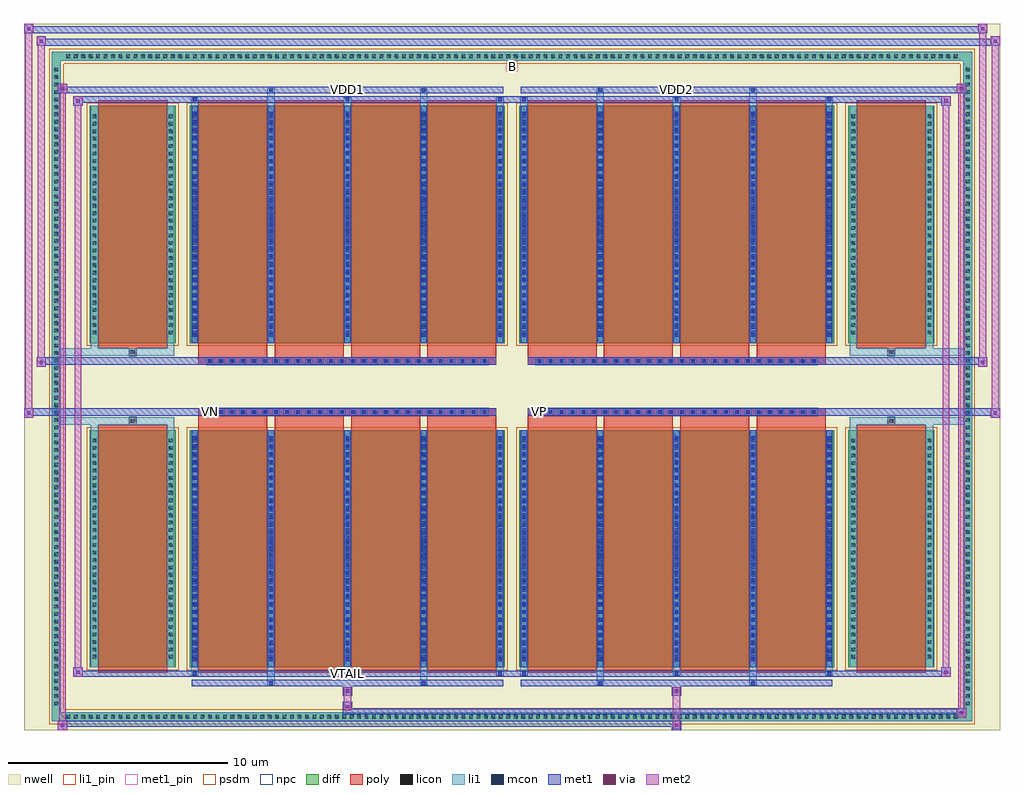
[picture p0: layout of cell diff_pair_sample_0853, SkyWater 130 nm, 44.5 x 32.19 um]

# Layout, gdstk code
import gdstk
lib = gdstk.Library(unit=1e-6, precision=5e-09)
def R(c, l, rs):  # rectangles x0, y0, x1, y1
    for r in rs: c.add(gdstk.rectangle(r[:2], r[2:], *l))
def A(c, l, x, y, w, h, nx, ny, dx, dy):  # array of equal rectangles
    R(c, l, [(x+i*dx, y+j*dy, x+i*dx+w, y+j*dy+h) for i in range(nx) for j in range(ny)])
def P(c, l, *ps):  # polygons
    for p in ps: c.add(gdstk.Polygon(p, *l))
nwell = (64, 20)
diff = (65, 20)
poly = (66, 20)
licon = (66, 44)
li1_pin = (67, 16)
li1 = (67, 20)
mcon = (67, 44)
met1_pin = (68, 16)
met1 = (68, 20)
via = (68, 44)
met2 = (69, 20)
psdm = (94, 20)
npc = (95, 20)

diff_pair_sample_0853 = lib.new_cell('diff_pair_sample_0853')
R(diff_pair_sample_0853, nwell, [(-22.25,-15.66,22.25,16.53), (-19.57,-13.85,-0.01,-0.795), (0.01,-13.85,19.57,-0.795), (-19.57,0.795,-0.01,13.85), (0.01,0.795,19.57,13.85)])
A(diff_pair_sample_0853, diff, -20.435, -15.26, 0.41, 0.41, 120, 2, 0.34, 30.11)
A(diff_pair_sample_0853, diff, -20.98, -14.655, 0.41, 0.41, 1, 86, 0, 0.34)
A(diff_pair_sample_0853, diff, 20.57, -14.655, 0.41, 0.41, 1, 86, 0, 0.34)
R(diff_pair_sample_0853, diff, [(-20.435,-15.26,20.435,-14.85), (-20.98,-14.655,-20.57,14.655), (20.57,-14.655,20.98,14.655), (-19.26,-12.805,-15.33,-1.985), (-14.69,-12.805,-0.32,-1.985), (0.32,-12.805,14.69,-1.985), (15.33,-12.805,19.26,-1.985), (-19.26,1.985,-15.33,12.805), (-14.69,1.985,-0.32,12.805), (0.32,1.985,14.69,12.805), (15.33,1.985,19.26,12.805), (-20.435,14.85,20.435,15.26)])
P(diff_pair_sample_0853, diff, [(20.98,15.26),(-20.98,15.26),(-20.98,-14.85),(-20.57,-14.85),(-20.57,14.85),(20.57,14.85),(20.57,-14.85),(-20.57,-14.85),(-20.98,-14.85),(-20.98,-15.26),(20.98,-15.26)])
A(diff_pair_sample_0853, poly, -14.3, -13.055, 3.15, 11.32, 4, 2, 3.48, 14.79)
A(diff_pair_sample_0853, poly, 0.71, -13.055, 3.15, 11.32, 4, 2, 3.48, 14.79)
A(diff_pair_sample_0853, poly, -14.3, -1.735, 3.15, 0.41, 4, 2, 3.48, 3.06)
A(diff_pair_sample_0853, poly, 0.71, -1.735, 3.15, 0.41, 4, 2, 3.48, 3.06)
A(diff_pair_sample_0853, poly, -13.92, -1.325, 0.33, 0.33, 26, 2, 0.5, 2.32)
A(diff_pair_sample_0853, poly, 1.09, -1.325, 0.33, 0.33, 26, 2, 0.5, 2.32)
R(diff_pair_sample_0853, poly, [(-18.87,-13.055,-15.72,-1.735), (15.72,-13.055,18.87,-1.735), (-17.46,-1.735,-17.13,-1.405), (-17.46,-1.735,-17.13,-1.405), (17.13,-1.735,17.46,-1.405), (17.13,-1.735,17.46,-1.405), (-14.3,-1.325,-0.71,-0.995), (0.71,-1.325,14.3,-0.995), (-14.3,0.995,-0.71,1.325), (0.71,0.995,14.3,1.325), (-17.46,1.405,-17.13,1.735), (-17.46,1.405,-17.13,1.735), (17.13,1.405,17.46,1.735), (17.13,1.405,17.46,1.735), (-18.87,1.735,-15.72,13.055), (15.72,1.735,18.87,13.055)])
A(diff_pair_sample_0853, licon, -20.315, -15.14, 0.17, 0.17, 120, 2, 0.34, 30.11)
A(diff_pair_sample_0853, licon, -20.86, -14.535, 0.17, 0.17, 1, 86, 0, 0.34)
A(diff_pair_sample_0853, licon, 20.69, -14.535, 0.17, 0.17, 1, 86, 0, 0.34)
A(diff_pair_sample_0853, licon, -19.12, -12.41, 0.17, 0.17, 1, 30, 0, 0.34)
A(diff_pair_sample_0853, licon, -15.64, -12.41, 0.17, 0.17, 1, 30, 0, 0.34)
A(diff_pair_sample_0853, licon, -14.55, -12.41, 0.17, 0.17, 5, 30, 3.48, 0.34)
A(diff_pair_sample_0853, licon, 0.46, -12.41, 0.17, 0.17, 5, 30, 3.48, 0.34)
A(diff_pair_sample_0853, licon, 15.47, -12.41, 0.17, 0.17, 1, 30, 0, 0.34)
A(diff_pair_sample_0853, licon, 18.95, -12.41, 0.17, 0.17, 1, 30, 0, 0.34)
A(diff_pair_sample_0853, licon, -13.84, -1.245, 0.17, 0.17, 26, 2, 0.5, 2.32)
A(diff_pair_sample_0853, licon, 1.17, -1.245, 0.17, 0.17, 26, 2, 0.5, 2.32)
A(diff_pair_sample_0853, licon, -19.12, 2.38, 0.17, 0.17, 1, 30, 0, 0.34)
A(diff_pair_sample_0853, licon, -15.64, 2.38, 0.17, 0.17, 1, 30, 0, 0.34)
A(diff_pair_sample_0853, licon, -14.55, 2.38, 0.17, 0.17, 5, 30, 3.48, 0.34)
A(diff_pair_sample_0853, licon, 0.46, 2.38, 0.17, 0.17, 5, 30, 3.48, 0.34)
A(diff_pair_sample_0853, licon, 15.47, 2.38, 0.17, 0.17, 1, 30, 0, 0.34)
A(diff_pair_sample_0853, licon, 18.95, 2.38, 0.17, 0.17, 1, 30, 0, 0.34)
R(diff_pair_sample_0853, licon, [(-17.38,-1.655,-17.21,-1.485), (17.21,-1.655,17.38,-1.485), (-17.38,1.485,-17.21,1.655), (17.21,1.485,17.38,1.655)])
R(diff_pair_sample_0853, li1_pin, [(-0.25,14.35,0.25,14.85)])
A(diff_pair_sample_0853, li1, -20.395, -15.22, 0.33, 0.33, 120, 2, 0.34, 30.11)
A(diff_pair_sample_0853, li1, -20.94, -14.615, 0.33, 0.33, 1, 86, 0, 0.34)
A(diff_pair_sample_0853, li1, 20.61, -14.615, 0.33, 0.33, 1, 86, 0, 0.34)
A(diff_pair_sample_0853, li1, -14.63, -13.18, 0.33, 0.375, 3, 2, 6.96, 25.985)
A(diff_pair_sample_0853, li1, -14.55, -13.18, 0.17, 0.17, 3, 2, 6.96, 26.19)
A(diff_pair_sample_0853, li1, 0.38, -13.18, 0.33, 0.375, 3, 2, 6.96, 25.985)
A(diff_pair_sample_0853, li1, 0.46, -13.18, 0.17, 0.17, 3, 2, 6.96, 26.19)
A(diff_pair_sample_0853, li1, -14.63, -12.805, 0.33, 10.82, 5, 2, 3.48, 14.79)
A(diff_pair_sample_0853, li1, 0.38, -12.805, 0.33, 10.82, 5, 2, 3.48, 14.79)
A(diff_pair_sample_0853, li1, -14.55, -12.52, 0.17, 0.17, 5, 29, 3.48, 0.36)
A(diff_pair_sample_0853, li1, -14.55, -12.52, 0.17, 10.25, 5, 2, 3.48, 14.79)
A(diff_pair_sample_0853, li1, 0.46, -12.52, 0.17, 0.17, 5, 29, 3.48, 0.36)
A(diff_pair_sample_0853, li1, 0.46, -12.52, 0.17, 10.25, 5, 2, 3.48, 14.79)
A(diff_pair_sample_0853, li1, -19.2, -12.49, 0.33, 0.33, 1, 30, 0, 0.34)
A(diff_pair_sample_0853, li1, -15.72, -12.49, 0.33, 0.33, 1, 30, 0, 0.34)
A(diff_pair_sample_0853, li1, -14.63, -12.49, 0.33, 0.33, 5, 30, 3.48, 0.34)
A(diff_pair_sample_0853, li1, 0.38, -12.49, 0.33, 0.33, 5, 30, 3.48, 0.34)
A(diff_pair_sample_0853, li1, 15.39, -12.49, 0.33, 0.33, 1, 30, 0, 0.34)
A(diff_pair_sample_0853, li1, 18.87, -12.49, 0.33, 0.33, 1, 30, 0, 0.34)
A(diff_pair_sample_0853, li1, -13.92, -1.325, 0.33, 0.33, 26, 2, 0.5, 2.32)
A(diff_pair_sample_0853, li1, 1.09, -1.325, 0.33, 0.33, 26, 2, 0.5, 2.32)
A(diff_pair_sample_0853, li1, -14.55, 2.27, 0.17, 0.17, 5, 29, 3.48, 0.36)
A(diff_pair_sample_0853, li1, 0.46, 2.27, 0.17, 0.17, 5, 29, 3.48, 0.36)
A(diff_pair_sample_0853, li1, -19.2, 2.3, 0.33, 0.33, 1, 30, 0, 0.34)
A(diff_pair_sample_0853, li1, -15.72, 2.3, 0.33, 0.33, 1, 30, 0, 0.34)
A(diff_pair_sample_0853, li1, -14.63, 2.3, 0.33, 0.33, 5, 30, 3.48, 0.34)
A(diff_pair_sample_0853, li1, 0.38, 2.3, 0.33, 0.33, 5, 30, 3.48, 0.34)
A(diff_pair_sample_0853, li1, 15.39, 2.3, 0.33, 0.33, 1, 30, 0, 0.34)
A(diff_pair_sample_0853, li1, 18.87, 2.3, 0.33, 0.33, 1, 30, 0, 0.34)
R(diff_pair_sample_0853, li1, [(-20.98,-15.26,-20.57,-14.85), (-20.98,-15.26,-20.57,-14.85), (-20.57,-15.26,20.57,-14.85), (20.57,-15.26,20.98,-14.85), (20.57,-15.26,20.98,-14.85), (-20.98,-14.85,-20.57,14.85), (20.57,-14.85,20.98,14.85), (-11.15,-13.61,-10.82,-12.805), (-11.07,-13.61,-10.9,-13.44), (-4.19,-13.61,-3.86,-12.805), (-4.11,-13.61,-3.94,-13.44), (3.86,-13.61,4.19,-12.805), (3.94,-13.61,4.11,-13.44), (10.82,-13.61,11.15,-12.805), (10.9,-13.61,11.07,-13.44), (-19.2,-12.805,-18.87,-1.985), (-15.72,-12.805,-15.39,-1.985), (15.39,-12.805,15.72,-1.985), (18.87,-12.805,19.2,-1.985), (-19.2,-1.985,-18.87,-1.405), (-15.72,-1.985,-15.39,-1.405), (15.39,-1.985,15.72,-1.405), (18.87,-1.985,19.2,-1.405), (-20.98,-1.735,-17.46,-1.405), (-19.2,-1.735,-17.46,-1.405), (-17.46,-1.735,-17.13,-1.405), (-17.13,-1.735,-15.39,-1.405), (15.39,-1.735,17.13,-1.405), (17.13,-1.735,17.46,-1.405), (17.13,-1.735,20.98,-1.405), (17.46,-1.735,19.2,-1.405), (-20.98,1.405,-17.46,1.735), (-19.2,1.405,-17.46,1.735), (-19.2,1.405,-18.87,1.985), (-17.46,1.405,-17.13,1.735), (-17.13,1.405,-15.39,1.735), (-15.72,1.405,-15.39,1.985), (15.39,1.405,17.13,1.735), (15.39,1.405,15.72,1.985), (17.13,1.405,17.46,1.735), (17.13,1.405,20.98,1.735), (17.46,1.405,19.2,1.735), (18.87,1.405,19.2,1.985), (-19.2,1.985,-18.87,12.805), (-15.72,1.985,-15.39,12.805), (15.39,1.985,15.72,12.805), (18.87,1.985,19.2,12.805), (-11.15,12.805,-10.82,13.61), (-4.19,12.805,-3.86,13.61), (3.86,12.805,4.19,13.61), (10.82,12.805,11.15,13.61), (-11.07,13.44,-10.9,13.61), (-4.11,13.44,-3.94,13.61), (3.94,13.44,4.11,13.61), (10.9,13.44,11.07,13.61), (-20.98,14.85,-20.57,15.26), (-20.98,14.85,-20.57,15.26), (-20.57,14.85,20.57,15.26), (20.57,14.85,20.98,15.26), (20.57,14.85,20.98,15.26)])
A(diff_pair_sample_0853, mcon, -14.55, -13.18, 0.17, 0.17, 3, 2, 6.96, 26.19)
A(diff_pair_sample_0853, mcon, 0.46, -13.18, 0.17, 0.17, 3, 2, 6.96, 26.19)
A(diff_pair_sample_0853, mcon, -14.55, -12.52, 0.17, 0.17, 5, 29, 3.48, 0.36)
A(diff_pair_sample_0853, mcon, 0.46, -12.52, 0.17, 0.17, 5, 29, 3.48, 0.36)
A(diff_pair_sample_0853, mcon, -13.84, -1.245, 0.17, 0.17, 26, 2, 0.5, 2.32)
A(diff_pair_sample_0853, mcon, 1.17, -1.245, 0.17, 0.17, 26, 2, 0.5, 2.32)
A(diff_pair_sample_0853, mcon, -14.55, 2.27, 0.17, 0.17, 5, 29, 3.48, 0.36)
A(diff_pair_sample_0853, mcon, 0.46, 2.27, 0.17, 0.17, 5, 29, 3.48, 0.36)
R(diff_pair_sample_0853, mcon, [(-11.07,-13.61,-10.9,-13.44), (-4.11,-13.61,-3.94,-13.44), (3.94,-13.61,4.11,-13.44), (10.9,-13.61,11.07,-13.44), (-11.07,13.44,-10.9,13.61), (-4.11,13.44,-3.94,13.61), (3.94,13.44,4.11,13.61), (10.9,13.44,11.07,13.61)])
R(diff_pair_sample_0853, met1_pin, [(-7.64,-13.22,-7.37,-12.95), (-13.89,-1.285,-13.62,-1.015), (1.12,-1.285,1.39,-1.015), (-7.64,13.4,-7.37,13.67), (7.37,13.4,7.64,13.67)])
A(diff_pair_sample_0853, met1, -14.61, -13.24, 0.29, 0.29, 3, 2, 6.96, 26.19)
A(diff_pair_sample_0853, met1, 0.4, -13.24, 0.29, 0.29, 3, 2, 6.96, 26.19)
A(diff_pair_sample_0853, met1, -14.61, -12.805, 0.29, 10.82, 5, 2, 3.48, 14.79)
A(diff_pair_sample_0853, met1, 0.4, -12.805, 0.29, 10.82, 5, 2, 3.48, 14.79)
A(diff_pair_sample_0853, met1, -14.61, -12.58, 0.29, 0.29, 5, 29, 3.48, 0.36)
A(diff_pair_sample_0853, met1, 0.4, -12.58, 0.29, 0.29, 5, 29, 3.48, 0.36)
A(diff_pair_sample_0853, met1, -13.9, -1.305, 0.29, 0.29, 26, 2, 0.5, 2.32)
A(diff_pair_sample_0853, met1, 1.11, -1.305, 0.29, 0.29, 26, 2, 0.5, 2.32)
A(diff_pair_sample_0853, met1, -14.61, 2.21, 0.29, 0.29, 5, 29, 3.48, 0.36)
A(diff_pair_sample_0853, met1, 0.4, 2.21, 0.29, 0.29, 5, 29, 3.48, 0.36)
R(diff_pair_sample_0853, met1, [(-20.71,-15.66,-20.28,-15.23), (7.29,-15.66,7.72,-15.23), (-20.71,-15.52,7.72,-15.23), (20.28,-15.09,20.71,-14.66), (-7.72,-14.95,20.71,-14.66), (-7.72,-14.81,-7.29,-14.38), (-7.72,-14.1,-7.29,-13.67), (7.29,-14.1,7.72,-13.67), (-14.61,-13.67,-0.4,-13.38), (-11.13,-13.67,-10.84,-13.38), (-4.17,-13.67,-3.88,-13.38), (0.4,-13.67,14.61,-13.38), (3.88,-13.67,4.17,-13.38), (10.84,-13.67,11.13,-13.38), (-20,-13.24,-19.57,-12.81), (-20,-13.24,-14.61,-12.95), (-14.61,-13.24,-0.4,-12.95), (-0.4,-13.24,0.4,-12.95), (0.4,-13.24,14.61,-12.95), (14.61,-13.24,20,-12.95), (19.57,-13.24,20,-12.81), (-22.25,-1.425,-21.82,-0.995), (21.82,-1.425,22.25,-0.995), (-22.25,-1.325,-0.71,-0.995), (-14.3,-1.325,-0.71,-0.995), (0.71,-1.325,14.3,-0.995), (0.71,-1.325,22.25,-0.995), (-21.68,0.895,-21.25,1.325), (21.25,0.895,21.68,1.325), (-21.68,0.995,-14.3,1.325), (-14.3,0.995,-0.71,1.325), (0.71,0.995,14.3,1.325), (14.3,0.995,21.68,1.325), (-20,12.81,-19.57,13.24), (19.57,12.81,20,13.24), (-20,12.95,-14.61,13.24), (-14.61,12.95,-0.4,13.24), (-0.4,12.95,0.4,13.24), (0.4,12.95,14.61,13.24), (14.61,12.95,20,13.24), (-20.71,13.38,-20.28,13.81), (-20.71,13.38,-14.61,13.67), (-14.61,13.38,-0.4,13.67), (-11.13,13.38,-10.84,13.67), (-4.17,13.38,-3.88,13.67), (0.4,13.38,14.61,13.67), (3.88,13.38,4.17,13.67), (10.84,13.38,11.13,13.67), (14.61,13.38,20.71,13.67), (20.28,13.38,20.71,13.81), (-21.68,15.53,-21.25,15.96), (-21.68,15.53,-19.57,15.86), (-19.57,15.53,19.57,15.86), (19.57,15.53,22.25,15.86), (21.82,15.53,22.25,15.96), (-22.25,16.1,-21.82,16.53), (-22.25,16.1,-19.57,16.43), (-19.57,16.1,19.57,16.43), (19.57,16.1,21.68,16.43), (21.25,16.1,21.68,16.53)])
R(diff_pair_sample_0853, via, [(-20.57,-15.52,-20.42,-15.37), (7.43,-15.52,7.58,-15.37), (20.42,-14.95,20.57,-14.8), (-7.58,-14.67,-7.43,-14.52), (-7.58,-13.96,-7.43,-13.81), (7.43,-13.96,7.58,-13.81), (-19.86,-13.1,-19.71,-12.95), (19.71,-13.1,19.86,-12.95), (-22.11,-1.285,-21.96,-1.135), (21.96,-1.285,22.11,-1.135), (-21.54,1.035,-21.39,1.185), (21.39,1.035,21.54,1.185), (-19.86,12.95,-19.71,13.1), (19.71,12.95,19.86,13.1), (-20.57,13.52,-20.42,13.67), (20.42,13.52,20.57,13.67), (-21.54,15.67,-21.39,15.82), (21.96,15.67,22.11,15.82), (-22.11,16.24,-21.96,16.39), (21.39,16.24,21.54,16.39)])
R(diff_pair_sample_0853, met2, [(-20.71,-15.66,-20.28,-15.23), (-20.64,-15.66,-20.35,13.81), (-20.35,-15.66,-20.28,-15.23), (-20.66,-15.61,-20.33,-15.28), (7.34,-15.61,7.67,-15.28), (7.34,-15.28,7.67,-14.05), (20.28,-15.09,20.71,-14.66), (20.35,-15.09,20.64,13.81), (20.64,-15.09,20.71,-14.66), (20.33,-15.04,20.66,-14.71), (-7.67,-14.76,-7.34,-14.43), (-7.67,-14.43,-7.34,-14.05), (-7.67,-14.05,-7.34,-13.72), (7.34,-14.05,7.67,-13.72), (-20,-13.24,-19.57,-12.81), (-19.93,-13.24,-19.64,13.24), (-19.64,-13.24,-19.57,-12.81), (19.57,-13.24,20,-12.81), (19.64,-13.24,19.93,13.24), (19.93,-13.24,20,-12.81), (-19.95,-13.19,-19.62,-12.86), (19.62,-13.19,19.95,-12.86), (-22.25,-1.425,-21.82,-0.995), (-22.2,-1.425,-21.87,16.53), (-21.87,-1.425,-21.82,-0.995), (21.82,-1.425,22.25,-0.995), (21.87,-1.425,22.2,15.96), (22.2,-1.425,22.25,-0.995), (-22.2,-1.375,-21.87,-1.045), (21.87,-1.375,22.2,-1.045), (-21.68,0.895,-21.25,1.325), (-21.63,0.895,-21.3,15.96), (-21.3,0.895,-21.25,1.325), (21.25,0.895,21.68,1.325), (21.3,0.895,21.63,16.53), (21.63,0.895,21.68,1.325), (-21.63,0.945,-21.3,1.275), (21.3,0.945,21.63,1.275), (-20,12.81,-19.57,13.24), (-19.64,12.81,-19.57,13.24), (19.57,12.81,20,13.24), (19.93,12.81,20,13.24), (-19.95,12.86,-19.62,13.19), (19.62,12.86,19.95,13.19), (-20.71,13.38,-20.28,13.81), (-20.35,13.38,-20.28,13.81), (20.28,13.38,20.71,13.81), (20.64,13.38,20.71,13.81), (-20.66,13.43,-20.33,13.76), (20.33,13.43,20.66,13.76), (-21.68,15.53,-21.25,15.96), (-21.3,15.53,-21.25,15.96), (21.82,15.53,22.25,15.96), (22.2,15.53,22.25,15.96), (-21.63,15.58,-21.3,15.91), (21.87,15.58,22.2,15.91), (-22.25,16.1,-21.82,16.53), (-21.87,16.1,-21.82,16.53), (21.25,16.1,21.68,16.53), (21.63,16.1,21.68,16.53), (-22.2,16.15,-21.87,16.48), (21.3,16.15,21.63,16.48)])
R(diff_pair_sample_0853, psdm, [(-19.39,-12.935,-15.2,-1.855), (-14.82,-12.935,-0.19,-1.855), (0.19,-12.935,14.82,-1.855), (15.2,-12.935,19.39,-1.855), (-19.39,1.855,-15.2,12.935), (-14.82,1.855,-0.19,12.935), (0.19,1.855,14.82,12.935), (15.2,1.855,19.39,12.935)])
P(diff_pair_sample_0853, psdm, [(21.11,15.39),(-21.11,15.39),(-21.11,-14.72),(-20.44,-14.72),(-20.44,14.72),(20.44,14.72),(20.44,-14.72),(-20.44,-14.72),(-21.11,-14.72),(-21.11,-15.39),(21.11,-15.39)])
A(diff_pair_sample_0853, npc, -13.94, -1.345, 0.37, 0.37, 26, 2, 0.5, 2.32)
A(diff_pair_sample_0853, npc, 1.07, -1.345, 0.37, 0.37, 26, 2, 0.5, 2.32)
R(diff_pair_sample_0853, npc, [(-17.48,-1.755,-17.11,-1.385), (17.11,-1.755,17.48,-1.385), (-13.94,-1.345,-13.07,-0.975), (-13.94,-1.345,-13.07,-0.975), (-13.44,-1.345,-12.57,-0.975), (-13.44,-1.345,-12.57,-0.975), (-12.94,-1.345,-12.07,-0.975), (-12.94,-1.345,-12.07,-0.975), (-12.44,-1.345,-11.57,-0.975), (-12.44,-1.345,-11.57,-0.975), (-11.94,-1.345,-11.07,-0.975), (-11.94,-1.345,-11.07,-0.975), (-11.44,-1.345,-10.57,-0.975), (-11.44,-1.345,-10.57,-0.975), (-10.94,-1.345,-10.07,-0.975), (-10.94,-1.345,-10.07,-0.975), (-10.44,-1.345,-9.57,-0.975), (-10.44,-1.345,-9.57,-0.975), (-9.94,-1.345,-9.07,-0.975), (-9.94,-1.345,-9.07,-0.975), (-9.44,-1.345,-8.57,-0.975), (-9.44,-1.345,-8.57,-0.975), (-8.94,-1.345,-8.07,-0.975), (-8.94,-1.345,-8.07,-0.975), (-8.44,-1.345,-7.57,-0.975), (-8.44,-1.345,-7.57,-0.975), (-7.94,-1.345,-7.07,-0.975), (-7.94,-1.345,-7.07,-0.975), (-7.44,-1.345,-6.57,-0.975), (-7.44,-1.345,-6.57,-0.975), (-6.94,-1.345,-6.07,-0.975), (-6.94,-1.345,-6.07,-0.975), (-6.44,-1.345,-5.57,-0.975), (-6.44,-1.345,-5.57,-0.975), (-5.94,-1.345,-5.07,-0.975), (-5.94,-1.345,-5.07,-0.975), (-5.44,-1.345,-4.57,-0.975), (-5.44,-1.345,-4.57,-0.975), (-4.94,-1.345,-4.07,-0.975), (-4.94,-1.345,-4.07,-0.975), (-4.44,-1.345,-3.57,-0.975), (-4.44,-1.345,-3.57,-0.975), (-3.94,-1.345,-3.07,-0.975), (-3.94,-1.345,-3.07,-0.975), (-3.44,-1.345,-2.57,-0.975), (-3.44,-1.345,-2.57,-0.975), (-2.94,-1.345,-2.07,-0.975), (-2.94,-1.345,-2.07,-0.975), (-2.44,-1.345,-1.57,-0.975), (-2.44,-1.345,-1.57,-0.975), (-1.94,-1.345,-1.07,-0.975), (-1.94,-1.345,-1.07,-0.975), (1.07,-1.345,1.94,-0.975), (1.07,-1.345,1.94,-0.975), (1.57,-1.345,2.44,-0.975), (1.57,-1.345,2.44,-0.975), (2.07,-1.345,2.94,-0.975), (2.07,-1.345,2.94,-0.975), (2.57,-1.345,3.44,-0.975), (2.57,-1.345,3.44,-0.975), (3.07,-1.345,3.94,-0.975), (3.07,-1.345,3.94,-0.975), (3.57,-1.345,4.44,-0.975), (3.57,-1.345,4.44,-0.975), (4.07,-1.345,4.94,-0.975), (4.07,-1.345,4.94,-0.975), (4.57,-1.345,5.44,-0.975), (4.57,-1.345,5.44,-0.975), (5.07,-1.345,5.94,-0.975), (5.07,-1.345,5.94,-0.975), (5.57,-1.345,6.44,-0.975), (5.57,-1.345,6.44,-0.975), (6.07,-1.345,6.94,-0.975), (6.07,-1.345,6.94,-0.975), (6.57,-1.345,7.44,-0.975), (6.57,-1.345,7.44,-0.975), (7.07,-1.345,7.94,-0.975), (7.07,-1.345,7.94,-0.975), (7.57,-1.345,8.44,-0.975), (7.57,-1.345,8.44,-0.975), (8.07,-1.345,8.94,-0.975), (8.07,-1.345,8.94,-0.975), (8.57,-1.345,9.44,-0.975), (8.57,-1.345,9.44,-0.975), (9.07,-1.345,9.94,-0.975), (9.07,-1.345,9.94,-0.975), (9.57,-1.345,10.44,-0.975), (9.57,-1.345,10.44,-0.975), (10.07,-1.345,10.94,-0.975), (10.07,-1.345,10.94,-0.975), (10.57,-1.345,11.44,-0.975), (10.57,-1.345,11.44,-0.975), (11.07,-1.345,11.94,-0.975), (11.07,-1.345,11.94,-0.975), (11.57,-1.345,12.44,-0.975), (11.57,-1.345,12.44,-0.975), (12.07,-1.345,12.94,-0.975), (12.07,-1.345,12.94,-0.975), (12.57,-1.345,13.44,-0.975), (12.57,-1.345,13.44,-0.975), (13.07,-1.345,13.94,-0.975), (13.07,-1.345,13.94,-0.975), (-13.94,0.975,-13.07,1.345), (-13.94,0.975,-13.07,1.345), (-13.44,0.975,-12.57,1.345), (-13.44,0.975,-12.57,1.345), (-12.94,0.975,-12.07,1.345), (-12.94,0.975,-12.07,1.345), (-12.44,0.975,-11.57,1.345), (-12.44,0.975,-11.57,1.345), (-11.94,0.975,-11.07,1.345), (-11.94,0.975,-11.07,1.345), (-11.44,0.975,-10.57,1.345), (-11.44,0.975,-10.57,1.345), (-10.94,0.975,-10.07,1.345), (-10.94,0.975,-10.07,1.345), (-10.44,0.975,-9.57,1.345), (-10.44,0.975,-9.57,1.345), (-9.94,0.975,-9.07,1.345), (-9.94,0.975,-9.07,1.345), (-9.44,0.975,-8.57,1.345), (-9.44,0.975,-8.57,1.345), (-8.94,0.975,-8.07,1.345), (-8.94,0.975,-8.07,1.345), (-8.44,0.975,-7.57,1.345), (-8.44,0.975,-7.57,1.345), (-7.94,0.975,-7.07,1.345), (-7.94,0.975,-7.07,1.345), (-7.44,0.975,-6.57,1.345), (-7.44,0.975,-6.57,1.345), (-6.94,0.975,-6.07,1.345), (-6.94,0.975,-6.07,1.345), (-6.44,0.975,-5.57,1.345), (-6.44,0.975,-5.57,1.345), (-5.94,0.975,-5.07,1.345), (-5.94,0.975,-5.07,1.345), (-5.44,0.975,-4.57,1.345), (-5.44,0.975,-4.57,1.345), (-4.94,0.975,-4.07,1.345), (-4.94,0.975,-4.07,1.345), (-4.44,0.975,-3.57,1.345), (-4.44,0.975,-3.57,1.345), (-3.94,0.975,-3.07,1.345), (-3.94,0.975,-3.07,1.345), (-3.44,0.975,-2.57,1.345), (-3.44,0.975,-2.57,1.345), (-2.94,0.975,-2.07,1.345), (-2.94,0.975,-2.07,1.345), (-2.44,0.975,-1.57,1.345), (-2.44,0.975,-1.57,1.345), (-1.94,0.975,-1.07,1.345), (-1.94,0.975,-1.07,1.345), (1.07,0.975,1.94,1.345), (1.07,0.975,1.94,1.345), (1.57,0.975,2.44,1.345), (1.57,0.975,2.44,1.345), (2.07,0.975,2.94,1.345), (2.07,0.975,2.94,1.345), (2.57,0.975,3.44,1.345), (2.57,0.975,3.44,1.345), (3.07,0.975,3.94,1.345), (3.07,0.975,3.94,1.345), (3.57,0.975,4.44,1.345), (3.57,0.975,4.44,1.345), (4.07,0.975,4.94,1.345), (4.07,0.975,4.94,1.345), (4.57,0.975,5.44,1.345), (4.57,0.975,5.44,1.345), (5.07,0.975,5.94,1.345), (5.07,0.975,5.94,1.345), (5.57,0.975,6.44,1.345), (5.57,0.975,6.44,1.345), (6.07,0.975,6.94,1.345), (6.07,0.975,6.94,1.345), (6.57,0.975,7.44,1.345), (6.57,0.975,7.44,1.345), (7.07,0.975,7.94,1.345), (7.07,0.975,7.94,1.345), (7.57,0.975,8.44,1.345), (7.57,0.975,8.44,1.345), (8.07,0.975,8.94,1.345), (8.07,0.975,8.94,1.345), (8.57,0.975,9.44,1.345), (8.57,0.975,9.44,1.345), (9.07,0.975,9.94,1.345), (9.07,0.975,9.94,1.345), (9.57,0.975,10.44,1.345), (9.57,0.975,10.44,1.345), (10.07,0.975,10.94,1.345), (10.07,0.975,10.94,1.345), (10.57,0.975,11.44,1.345), (10.57,0.975,11.44,1.345), (11.07,0.975,11.94,1.345), (11.07,0.975,11.94,1.345), (11.57,0.975,12.44,1.345), (11.57,0.975,12.44,1.345), (12.07,0.975,12.94,1.345), (12.07,0.975,12.94,1.345), (12.57,0.975,13.44,1.345), (12.57,0.975,13.44,1.345), (13.07,0.975,13.94,1.345), (13.07,0.975,13.94,1.345), (-17.48,1.385,-17.11,1.755), (17.11,1.385,17.48,1.755)])
diff_pair_sample_0853.add(gdstk.Label('VTAIL', (-7.505,-13.085), layer=68, texttype=5))
diff_pair_sample_0853.add(gdstk.Label('VN', (-13.755,-1.15), layer=68, texttype=5))
diff_pair_sample_0853.add(gdstk.Label('VP', (1.255,-1.15), layer=68, texttype=5))
diff_pair_sample_0853.add(gdstk.Label('B', (0,14.6), layer=67, texttype=5))
diff_pair_sample_0853.add(gdstk.Label('VDD2', (7.505,13.535), layer=68, texttype=5))
diff_pair_sample_0853.add(gdstk.Label('VDD1', (-7.505,13.535), layer=68, texttype=5))

lib.write_gds('diff_pair_sample_0853.gds')
